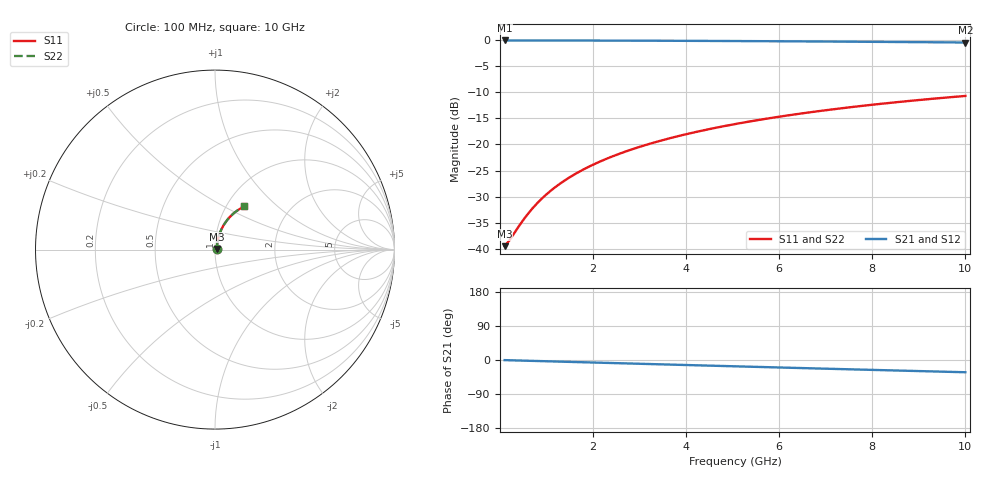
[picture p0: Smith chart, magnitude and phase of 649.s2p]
# Hz S RI R 50.00
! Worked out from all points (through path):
!   100 points, 100 MHz to 10 GHz, reference 50 ohm
!   highest |S21| = -0.09 dB at 100 MHz (marker M1); lowest = -0.5 dB at 10 GHz (marker M2)
!   group delay of S21, straight-line fit = 8.99 ps
!   lowest |S11| = -39.5 dB at 100 MHz (marker M3), VSWR 1.02, Z = 51 + j0.317 ohm
!   |S11| at or under -10 dB: start of sweep to end of sweep
!   |S22| runs from -39.5 to -10.7 dB; largest |S21 - S12| = 0
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1e8  0.0101 0.0031  0.9899 -0.00574  0.9899 -0.00574  0.0101 0.0031
2e8  0.0103 0.00621  0.9897 -0.0115  0.9897 -0.0115  0.0103 0.00621
4e8  0.0106 0.0124  0.9894 -0.023  0.9894 -0.023  0.0106 0.0124
5e8  0.0108 0.0155  0.9891 -0.0287  0.9891 -0.0287  0.0108 0.0155
6e8  0.011 0.0186  0.9889 -0.0344  0.9889 -0.0344  0.011 0.0186
7e8  0.0112 0.0217  0.9886 -0.0402  0.9886 -0.0402  0.0112 0.0217
9e8  0.0119 0.0279  0.9878 -0.0516  0.9878 -0.0516  0.0119 0.0279
1.1e9  0.0126 0.034  0.9869 -0.063  0.9869 -0.063  0.0126 0.034
1.3e9  0.0135 0.0401  0.9859 -0.0745  0.9859 -0.0745  0.0135 0.0401
1.5e9  0.0146 0.0462  0.9846 -0.0858  0.9846 -0.0858  0.0146 0.0462
1.8e9  0.0164 0.0553  0.9825 -0.1029  0.9825 -0.1029  0.0164 0.0553
2.1e9  0.0185 0.0644  0.9799 -0.1198  0.9799 -0.1198  0.0185 0.0644
2.5e9  0.0218 0.0763  0.976 -0.1423  0.976 -0.1423  0.0218 0.0763
2.9e9  0.0256 0.088  0.9713 -0.1645  0.9713 -0.1645  0.0256 0.088
3.4e9  0.0312 0.1023  0.9647 -0.1921  0.9647 -0.1921  0.0312 0.1023
4.2e9  0.0417 0.1244  0.952 -0.2353  0.952 -0.2353  0.0417 0.1244
5.1e9  0.0557 0.1478  0.935 -0.2826  0.935 -0.2826  0.0557 0.1478
5.9e9  0.0701 0.1672  0.9175 -0.3232  0.9175 -0.3232  0.0701 0.1672
6.7e9  0.086 0.1851  0.898 -0.3623  0.898 -0.3623  0.086 0.1851
7.5e9  0.1033 0.2013  0.8766 -0.3998  0.8766 -0.3998  0.1033 0.2013
8.4e9  0.1241 0.2175  0.8505 -0.44  0.8505 -0.44  0.1241 0.2175
1e10  0.164 0.2406  0.7998 -0.5057  0.7998 -0.5057  0.164 0.2406
